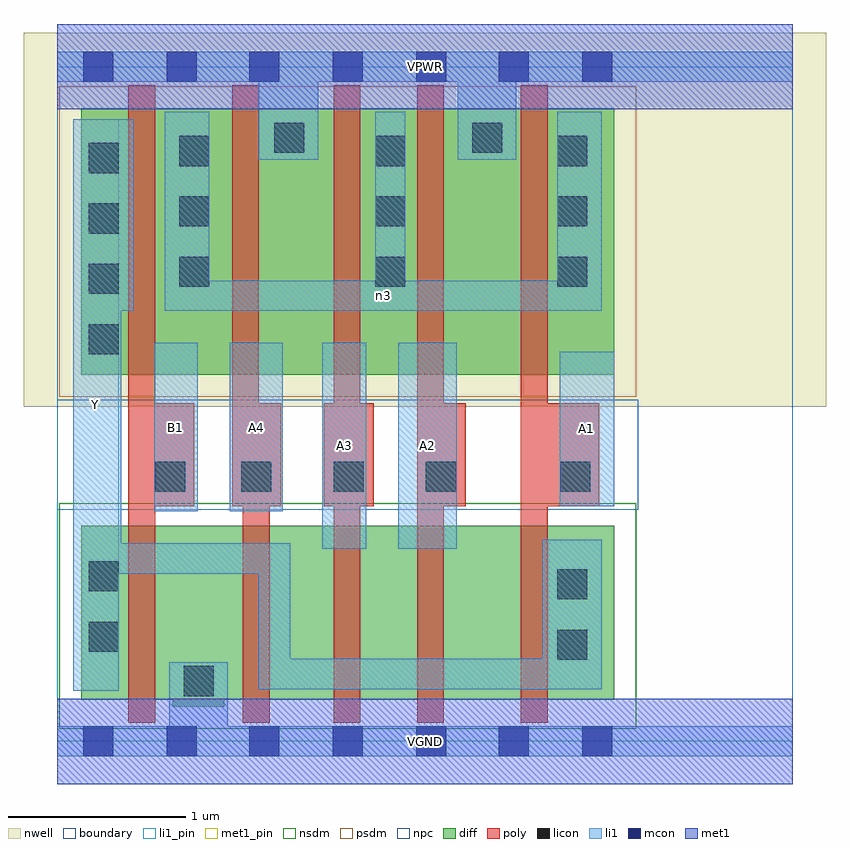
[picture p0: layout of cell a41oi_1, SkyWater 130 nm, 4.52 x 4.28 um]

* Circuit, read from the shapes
.subckt a41oi_1 A1 A2 A3 A4 B1 VGND VPWR Y n3
XM1 VGND B1 Y VSUBS sky130_fd_pr__nfet_01v8 w=0.98 l=0.15
XM2 n1 A4 VGND VSUBS sky130_fd_pr__nfet_01v8 w=0.98 l=0.15
XM3 n2 A3 n1 VSUBS sky130_fd_pr__nfet_01v8 w=0.98 l=0.15
XM4 n4 A2 n2 VSUBS sky130_fd_pr__nfet_01v8 w=0.98 l=0.15
XM5 Y A1 n4 VSUBS sky130_fd_pr__nfet_01v8 w=0.98 l=0.15
XM6 n3 B1 Y n5 sky130_fd_pr__pfet_01v8 w=1.5 l=0.15
XM7 VPWR A4 n3 n5 sky130_fd_pr__pfet_01v8 w=1.5 l=0.15
XM8 n3 A3 VPWR n5 sky130_fd_pr__pfet_01v8 w=1.5 l=0.15
XM9 VPWR A2 n3 n5 sky130_fd_pr__pfet_01v8 w=1.5 l=0.15
XM10 n3 A1 VPWR n5 sky130_fd_pr__pfet_01v8 w=1.5 l=0.15
.ends

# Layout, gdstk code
import gdstk
lib = gdstk.Library(unit=1e-6, precision=1e-09)
def R(c, l, rs):  # rectangles x0, y0, x1, y1
    for r in rs: c.add(gdstk.rectangle(r[:2], r[2:], *l))
def A(c, l, x, y, w, h, nx, ny, dx, dy):  # array of equal rectangles
    R(c, l, [(x+i*dx, y+j*dy, x+i*dx+w, y+j*dy+h) for i in range(nx) for j in range(ny)])
nwell = (64, 20)
diff = (65, 20)
poly = (66, 20)
licon = (66, 44)
li1_pin = (67, 16)
li1 = (67, 20)
mcon = (67, 44)
met1_pin = (68, 16)
met1 = (68, 20)
nsdm = (93, 44)
psdm = (94, 20)
npc = (95, 20)
boundary = (235, 4)

a41oi_1 = lib.new_cell('a41oi_1')
R(a41oi_1, nwell, [(-0.19,1.885,4.33,3.99), (0,1.885,4.14,3.99)])
R(a41oi_1, diff, [(0.65,0.195,0.94,1.215), (0.135,0.235,3.135,1.215), (0.135,2.065,3.135,3.565)])
R(a41oi_1, poly, [(0.4,0.105,0.55,3.695), (1.045,0.105,1.195,1.905), (1.555,0.105,1.705,3.695), (2.025,0.105,2.175,3.695), (2.61,0.105,2.76,3.695), (0.4,1.325,0.77,1.905), (0.985,1.325,1.135,3.695), (0.985,1.325,1.26,1.905), (1.5,1.325,1.78,1.905), (2.025,1.325,2.3,1.905), (2.61,1.325,3.05,1.905)])
A(a41oi_1, licon, 1.035, 1.405, 0.17, 0.17, 3, 1, 0.52, 0)
A(a41oi_1, licon, 0.175, 2.18, 0.17, 0.17, 1, 4, 0, 0.34)
A(a41oi_1, licon, 0.685, 2.56, 0.17, 0.17, 1, 3, 0, 0.34)
A(a41oi_1, licon, 1.79, 2.56, 0.17, 0.17, 1, 3, 0, 0.34)
A(a41oi_1, licon, 2.815, 2.56, 0.17, 0.17, 1, 3, 0, 0.34)
R(a41oi_1, licon, [(0.71,0.255,0.88,0.425), (2.815,0.46,2.985,0.63), (0.175,0.505,0.345,0.675), (2.815,0.8,2.985,0.97), (0.175,0.845,0.345,1.015), (0.55,1.405,0.72,1.575), (2.83,1.405,3,1.575), (1.22,3.315,1.39,3.485), (2.335,3.315,2.505,3.485)])
R(a41oi_1, li1_pin, [(0.09,0.285,0.345,3.505), (1.49,1.085,1.74,2.245), (1.92,1.085,2.25,2.245), (0.545,1.295,0.79,2.245), (0.97,1.295,1.27,2.245), (2.83,1.325,3.135,2.195)])
R(a41oi_1, li1, [(0,-0.085,4.14,0.085), (0.63,-0.085,0.96,0.445), (0.09,0.285,0.345,3.505), (1.135,0.295,3.065,0.465), (1.135,0.295,1.31,1.115), (2.73,0.295,3.065,1.135), (0.09,0.945,1.31,1.115), (0.09,0.945,0.36,3.505), (1.49,1.085,1.74,2.245), (1.92,1.085,2.25,2.245), (0.545,1.295,0.79,2.245), (0.97,1.295,1.27,2.245), (2.83,1.325,3.135,2.195), (0.09,2.425,0.43,3.505), (0.605,2.425,3.065,2.595), (0.605,2.425,0.855,3.545), (1.79,2.425,1.96,3.545), (2.815,2.425,3.065,3.545), (1.135,3.275,1.47,3.885), (2.255,3.275,2.585,3.885), (0,3.715,4.14,3.885)])
A(a41oi_1, mcon, 1.08, -0.085, 0.17, 0.17, 3, 2, 0.47, 3.8)
R(a41oi_1, mcon, [(0.145,-0.085,0.315,0.085), (0.615,-0.085,0.785,0.085), (2.485,-0.085,2.655,0.085), (2.955,-0.085,3.125,0.085), (0.145,3.715,0.315,3.885), (0.615,3.715,0.785,3.885), (2.485,3.715,2.655,3.885), (2.955,3.715,3.125,3.885)])
R(a41oi_1, met1_pin, [(0,-0.24,4.14,0.24), (0,3.56,4.14,4.04)])
R(a41oi_1, met1, [(0,-0.24,4.14,0.24), (0,3.56,4.14,4.04)])
R(a41oi_1, nsdm, [(0.01,0.07,3.26,1.34)])
R(a41oi_1, psdm, [(0.01,1.94,3.26,3.69)])
R(a41oi_1, npc, [(0,1.305,3.27,1.925)])
R(a41oi_1, boundary, [(0,0,4.14,3.8)])
a41oi_1.add(gdstk.Label('A1', (2.982,1.76), layer=67, texttype=5))
a41oi_1.add(gdstk.Label('A2', (2.085,1.665), layer=67, texttype=5))
a41oi_1.add(gdstk.Label('A3', (1.615,1.665), layer=67, texttype=5))
a41oi_1.add(gdstk.Label('A4', (1.12,1.77), layer=67, texttype=5))
a41oi_1.add(gdstk.Label('B1', (0.667,1.77), layer=67, texttype=5))
a41oi_1.add(gdstk.Label('Y', (0.217,1.895), layer=67, texttype=5))
a41oi_1.add(gdstk.Label('n3', (1.835,2.51), layer=67, texttype=5))
a41oi_1.add(gdstk.Label('VPWR', (2.07,3.8), layer=68, texttype=5))
a41oi_1.add(gdstk.Label('VGND', (2.07,0), layer=68, texttype=5))
a41oi_1.add(gdstk.Label('A1', (2.982,1.76), layer=67, texttype=16))
a41oi_1.add(gdstk.Label('A2', (2.085,1.665), layer=67, texttype=16))
a41oi_1.add(gdstk.Label('A3', (1.615,1.665), layer=67, texttype=16))
a41oi_1.add(gdstk.Label('A4', (1.12,1.77), layer=67, texttype=16))
a41oi_1.add(gdstk.Label('B1', (0.667,1.77), layer=67, texttype=16))
a41oi_1.add(gdstk.Label('Y', (0.217,1.895), layer=67, texttype=16))
a41oi_1.add(gdstk.Label('VPWR', (2.07,3.8), layer=68, texttype=16))
a41oi_1.add(gdstk.Label('VGND', (2.07,0), layer=68, texttype=16))

lib.write_gds('a41oi_1.gds')
